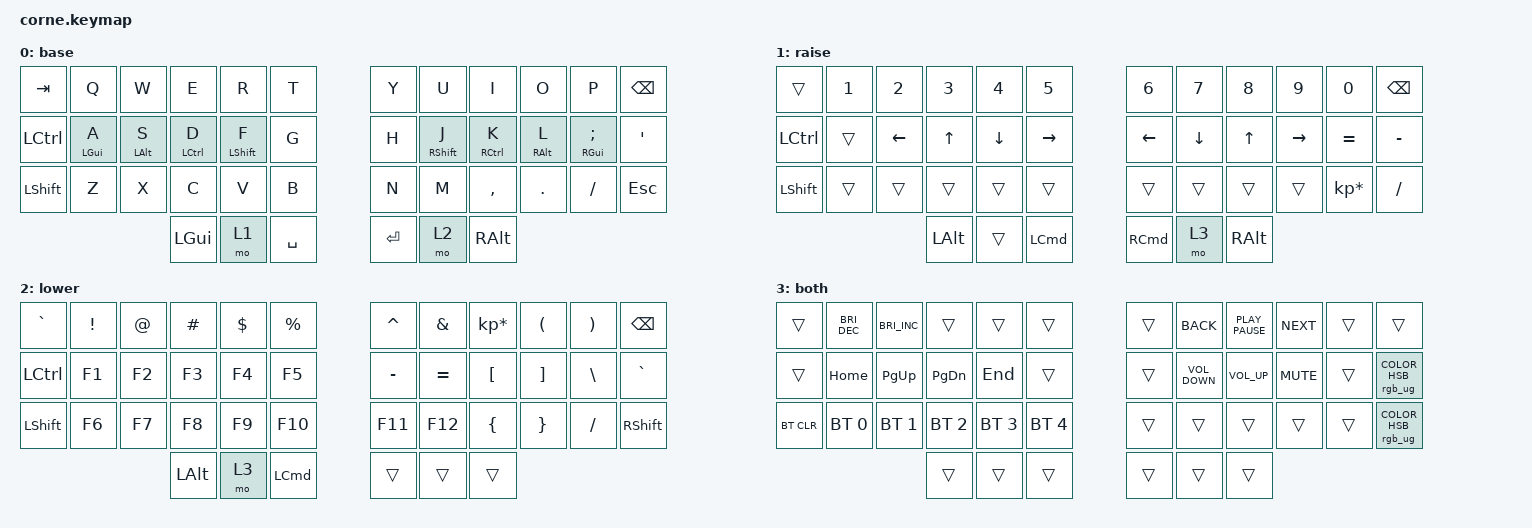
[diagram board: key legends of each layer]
/*
 * Copyright (c) 2020 The ZMK Contributors
 *
 * SPDX-License-Identifier: MIT
 */

#include <behaviors.dtsi>
#include <dt-bindings/zmk/bt.h>
#include <dt-bindings/zmk/keys.h>
#include <dt-bindings/zmk/rgb.h>

// dt-formatter: indent = "  "
// dt-formatter: reindentMultilineIntegerCells = "dedent"

/ {
  behaviors {
    hm: homerow_mods {
      compatible = "zmk,behavior-hold-tap";
      label = "HOMEROW_MODS";
      #binding-cells = <2>;
      tapping-term-ms = <150>;
      quick-tap-ms = <0>;
      flavor = "tap-preferred";
      bindings = <&kp>, <&kp>;
    };
  };

  combos {
    compatible = "zmk,combos";

    tab {
      bindings = <&trans>;
      key-positions = <2 3>;
    };

    ctrl {
      bindings = <&kp LCTRL>;
      key-positions = <26 27>;
    };

    cmd {
      bindings = <&kp LCMD>;
      key-positions = <37 38>;
    };

    alt {
      bindings = <&kp LEFT_ALT>;
      key-positions = <39 40>;
    };

    shift {
      bindings = <&kp LSHIFT>;
      key-positions = <8 9>;
    };

    caps_word {
      bindings = <&caps_word>;
      key-positions = <17 18>;
    };

    delete {
      bindings = <&kp DEL>;
      key-positions = <32 33>;
    };
  };

  macros {
    zed_em_kay: zed_em_kay {
      compatible = "zmk,behavior-macro";
      label = "ZM_zed_em_kay";
      #binding-cells = <0>;
      bindings =
        <&macro_press>,
        <&kp LSHFT>,
        <&macro_tap>,
        <&kp Z &kp M &kp K>,
        <&macro_release>,
        <&kp LSHFT>;
    };
  };

  keymap {
    compatible = "zmk,keymap";

    base {
      bindings = <
&kp TAB    &kp Q       &kp W       &kp E        &kp R         &kp T        &kp Y    &kp U         &kp I        &kp O       &kp P          &kp BACKSPACE
&kp LCTRL  &hm LGUI A  &hm LALT S  &hm LCTRL D  &hm LSHIFT F  &kp G        &kp H    &hm RSHIFT J  &hm RCTRL K  &hm RALT L  &hm RGUI SEMI  &kp APOS
&kp LSHFT  &kp Z       &kp X       &kp C        &kp V         &kp B        &kp N    &kp M         &kp COMMA    &kp DOT     &kp FSLH       &kp ESC
                                   &kp LGUI     &mo 1         &kp SPACE    &kp RET  &mo 2         &kp RALT
      >;
    };

    raise {
      bindings = <
&trans            &kp N1  &kp N2          &kp N3        &kp N4          &kp N5              &kp N6             &kp N7          &kp N8         &kp N9           &kp N0           &kp BACKSPACE
&kp LEFT_CONTROL  &trans  &kp LEFT_ARROW  &kp UP_ARROW  &kp DOWN_ARROW  &kp RIGHT_ARROW     &kp LEFT_ARROW     &kp DOWN_ARROW  &kp UP_ARROW   &kp RIGHT_ARROW  &kp EQUAL        &kp MINUS
&kp LEFT_SHIFT    &trans  &trans          &trans        &trans          &trans              &trans             &trans          &trans         &trans           &kp KP_MULTIPLY  &kp SLASH
                                          &kp LEFT_ALT  &trans          &kp LEFT_COMMAND    &kp RIGHT_COMMAND  &mo 3           &kp RIGHT_ALT
      >;
    };

    lower {
      bindings = <
&kp GRAVE         &kp EXCL  &kp AT  &kp HASH      &kp DLLR  &kp PRCNT           &kp CARET  &kp AMPS   &kp KP_MULTIPLY  &kp LPAR  &kp RPAR   &kp BACKSPACE
&kp LEFT_CONTROL  &kp F1    &kp F2  &kp F3        &kp F4    &kp F5              &kp MINUS  &kp EQUAL  &kp LBKT         &kp RBKT  &kp BSLH   &kp GRAVE
&kp LEFT_SHIFT    &kp F6    &kp F7  &kp F8        &kp F9    &kp F10             &kp F11    &kp F12    &kp LBRC         &kp RBRC  &kp SLASH  &kp RIGHT_SHIFT
                                    &kp LEFT_ALT  &mo 3     &kp LEFT_COMMAND    &trans     &trans     &trans
      >;
    };

    both {
      bindings = <
&trans      &kp C_BRIGHTNESS_DEC  &kp C_BRIGHTNESS_INC  &trans         &trans        &trans          &trans  &kp K_BACK         &kp K_PLAY_PAUSE  &kp K_NEXT  &trans  &trans
&trans      &kp HOME              &kp PAGE_UP           &kp PAGE_DOWN  &kp END       &trans          &trans  &kp C_VOLUME_DOWN  &kp C_VOLUME_UP   &kp K_MUTE  &trans  &rgb_ug RGB_COLOR_HSB(120,60,50)
&bt BT_CLR  &bt BT_SEL 0          &bt BT_SEL 1          &bt BT_SEL 2   &bt BT_SEL 3  &bt BT_SEL 4    &trans  &trans             &trans            &trans      &trans  &rgb_ug RGB_COLOR_HSB(240,60,50)
                                                        &trans         &trans        &trans          &trans  &trans             &trans
      >;
    };
  };
};
